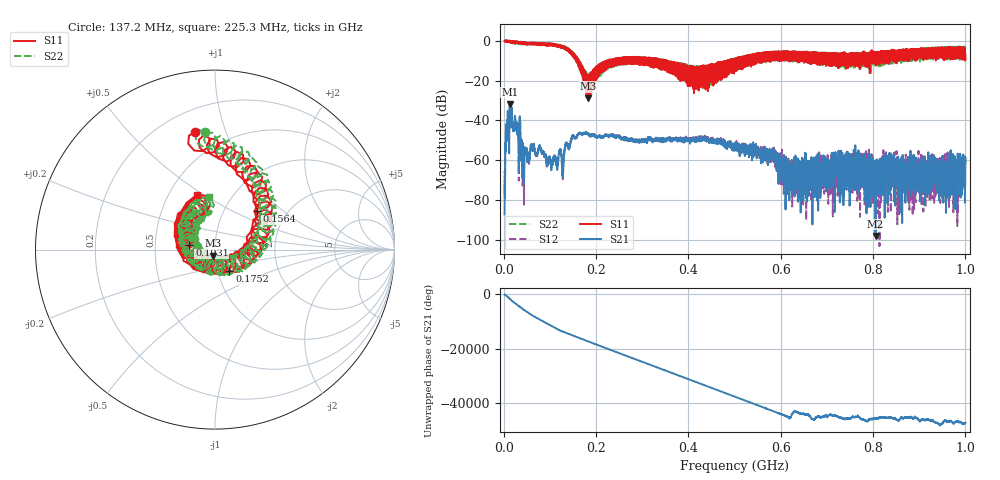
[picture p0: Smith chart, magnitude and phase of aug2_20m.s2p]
!Keysight Technologies N9923A: A.12.45
!Date: Saturday, 02 August 2025 19:07:54
!Timezone: (UTC+08:00) Kuala Lumpur, Singapore
!Model: N9923A
!Serial: MY61181427
!GPS Latitude:
!GPS Longitude:
!GPS TimeStamp: 0001-01-01 00:00:00Z
!GPS Seconds Since Last Read: 0
!CHECKSUM:1391438201
!Correction: S11(ON U)S21(ON U)S12(ON U)S22(ON U)
!S2P File: Measurements:S11,S21,S12,S22:
# Hz S DB R 50
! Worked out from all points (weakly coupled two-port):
!   4001 points, 2 MHz to 1 GHz, reference 50 ohm
!   highest |S21| = -31.73 dB at 13.23 MHz (marker M1); lowest = -98.0 dB at 805.4 MHz (marker M2)
!   lowest |S11| = -29.0 dB at 182.9 MHz (marker M3), VSWR 1.07, Z = 48.8 - j3.32 ohm
!   |S11| at or under -10 dB: 162.5 MHz to 223.5 MHz (61.07 MHz wide, 31.6 % of centre); 223.6 MHz to 225.2 MHz (1.618 MHz wide, 0.721 % of centre); 352.8 MHz to 484.7 MHz (131.9 MHz wide, 31.5 % of centre) (the widest 3 of 268)
!   |S22| runs from -29.4 to 0.1 dB; largest |S21 - S12| = 0.0027
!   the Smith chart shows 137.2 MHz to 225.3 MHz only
!   S11 on the Smith chart (normalised r, x): 137.2 MHz: 0.34, +0.78; 156.4 MHz: 1.42, +0.67; 175.2 MHz: 1.14, -0.28; 193.1 MHz: 0.75, +0.04; 225.3 MHz: 0.69, +0.47
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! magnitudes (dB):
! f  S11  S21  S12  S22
! 2 MHz  -0.1  -87.2  -76.7  -0.1
! 8.238 MHz  0.1  -45.1  -45.2  0.1
! 13.23 MHz  -0.3  -31.7  -31.7  -0.3
! 45.66 MHz  -1.2  -53.6  -53.4  -1.3
! 126.8 MHz  -3.3  -64.2  -62.7  -3.4
! 137.2 MHz  -3.6  -51.7  -51.5  -3.6
! 156.4 MHz  -10.1  -49.2  -49.0  -9.3
! 168.4 MHz  -14.8  -47.0  -47.1  -15.3
! 175.2 MHz  -16.8  -46.9  -46.8  -18.6
! 182.9 MHz  -29.0  -47.2  -46.9  -23.9
! 193.1 MHz  -16.8  -47.2  -47.2  -22.2
! 225.3 MHz  -9.9  -47.8  -47.4  -10.6
! 334.8 MHz  -11.7  -50.0  -49.1  -9.6
! 417.2 MHz  -24.1  -50.5  -49.8  -16.1
! 501 MHz  -12.4  -52.7  -51.7  -13.6
! 626 MHz  -6.4  -67.4  -60.6  -6.4
! 667.4 MHz  -6.8  -65.7  -67.4  -10.3
! 750 MHz  -6.4  -57.5  -59.1  -12.8
! 805.4 MHz  -6.4  -98.0  -64.5  -10.9
! 833.8 MHz  -6.8  -64.0  -67.1  -7.9
! 888.7 MHz  -8.8  -69.7  -66.0  -4.5
! 1 GHz  -7.2  -61.5  -59.8  -2.9
